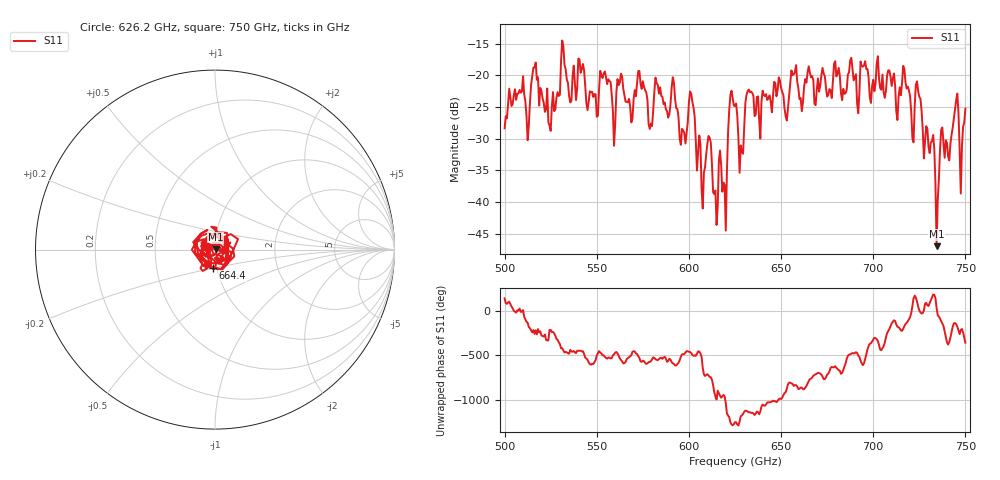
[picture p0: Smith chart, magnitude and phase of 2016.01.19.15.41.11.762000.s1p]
!Created with skrf (http://scikit-rf.org).
# GHz S RI R 50.0
!freq ReS11 ImS11
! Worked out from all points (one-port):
!   401 points, 500 GHz to 750 GHz, reference 50 ohm
!   lowest |S11| = -47.0 dB at 734.4 GHz (marker M1), VSWR 1.01, Z = 50.4 + j0.268 ohm
!   |S11| at or under -10 dB: start of sweep to end of sweep
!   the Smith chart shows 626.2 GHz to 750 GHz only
!   S11 on the Smith chart (normalised r, x): 626.2 GHz: 0.91, +0.03; 664.4 GHz: 0.95, -0.20; 750 GHz: 1.12, +0.01
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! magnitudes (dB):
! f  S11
! 500 GHz  -28.4
! 508.8 GHz  -22.7
! 512.5 GHz  -30.3
! 516.2 GHz  -18.8
! 525 GHz  -28.8
! 531.2 GHz  -14.5
! 559.4 GHz  -31.1
! 562.5 GHz  -21.2
! 593.8 GHz  -25.3
! 601.2 GHz  -22.9
! 607.5 GHz  -41.0
! 611.2 GHz  -29.9
! 614.4 GHz  -38.2
! 619.4 GHz  -37.3
! 622.5 GHz  -23.1
! 625 GHz  -24.9
! 626.2 GHz  -26.5
! 628.8 GHz  -32.1
! 632.5 GHz  -22.3
! 653.1 GHz  -27.2
! 656.2 GHz  -20.0
! 664.4 GHz  -19.6
! 687.5 GHz  -17.6
! 718.8 GHz  -21.8
! 724.4 GHz  -22.5
! 734.4 GHz  -47.0
! 737.5 GHz  -28.2
! 750 GHz  -25.3
